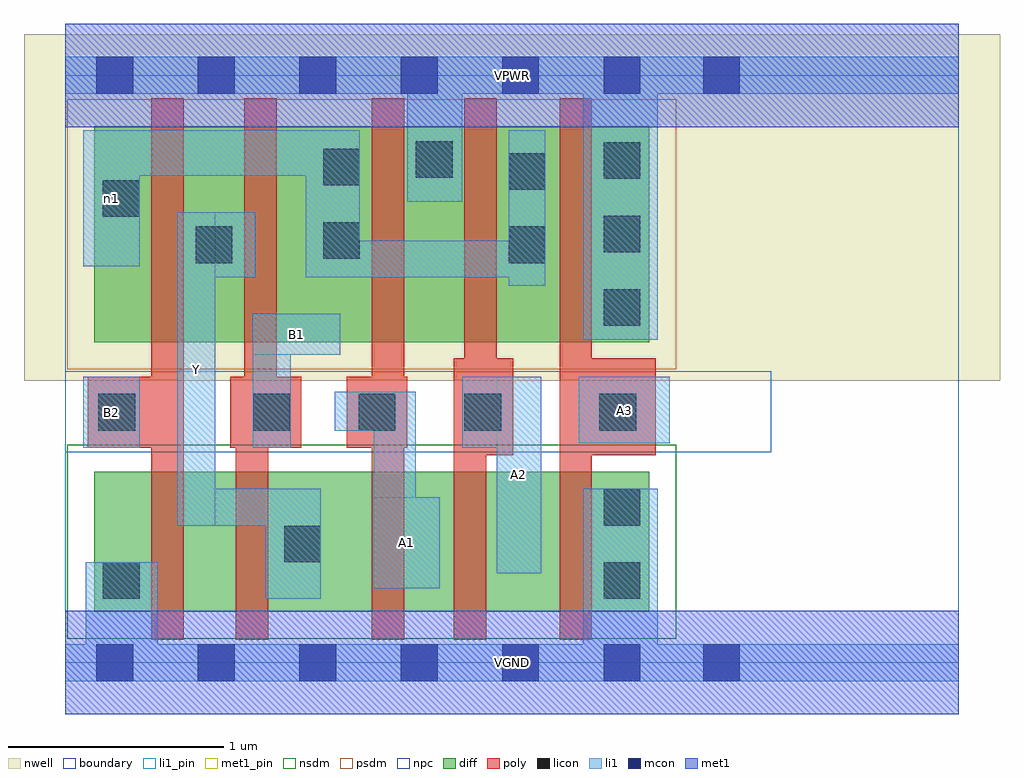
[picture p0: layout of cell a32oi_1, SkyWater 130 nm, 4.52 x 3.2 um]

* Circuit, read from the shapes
.subckt a32oi_1 A1 A2 A3 B1 B2 VGND VPWR Y n1
XM1 n2 B2 VGND VSUBS sky130_fd_pr__nfet_01v8 w=0.65 l=0.15
XM2 Y B1 n2 VSUBS sky130_fd_pr__nfet_01v8 w=0.65 l=0.15
XM3 n3 A1 Y VSUBS sky130_fd_pr__nfet_01v8 w=0.65 l=0.15
XM4 n4 A2 n3 VSUBS sky130_fd_pr__nfet_01v8 w=0.65 l=0.15
XM5 VGND A3 n4 VSUBS sky130_fd_pr__nfet_01v8 w=0.65 l=0.15
XM6 Y B2 n1 n5 sky130_fd_pr__pfet_01v8 w=1 l=0.15
XM7 n1 B1 Y n5 sky130_fd_pr__pfet_01v8 w=1 l=0.15
XM8 VPWR A1 n1 n5 sky130_fd_pr__pfet_01v8 w=1 l=0.15
XM9 n1 A2 VPWR n5 sky130_fd_pr__pfet_01v8 w=1 l=0.15
XM10 VPWR A3 n1 n5 sky130_fd_pr__pfet_01v8 w=1 l=0.15
.ends

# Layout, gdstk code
import gdstk
lib = gdstk.Library(unit=1e-6, precision=1e-09)
def R(c, l, rs):  # rectangles x0, y0, x1, y1
    for r in rs: c.add(gdstk.rectangle(r[:2], r[2:], *l))
def A(c, l, x, y, w, h, nx, ny, dx, dy):  # array of equal rectangles
    R(c, l, [(x+i*dx, y+j*dy, x+i*dx+w, y+j*dy+h) for i in range(nx) for j in range(ny)])
nwell = (64, 20)
diff = (65, 20)
poly = (66, 20)
licon = (66, 44)
li1_pin = (67, 16)
li1 = (67, 20)
mcon = (67, 44)
met1_pin = (68, 16)
met1 = (68, 20)
nsdm = (93, 44)
psdm = (94, 20)
npc = (95, 20)
boundary = (235, 4)

a32oi_1 = lib.new_cell('a32oi_1')
R(a32oi_1, nwell, [(-0.19,1.305,4.33,2.91), (0,1.305,4.14,2.91)])
R(a32oi_1, diff, [(0.135,0.235,2.705,0.885), (0.135,1.485,2.705,2.485)])
R(a32oi_1, poly, [(0.4,0.105,0.55,2.615), (0.79,0.105,0.94,1.325), (1.42,0.105,1.57,2.615), (1.8,0.105,1.95,1.41), (2.29,0.105,2.44,2.615), (1.8,0.96,2.075,1.41), (1.85,0.96,2,2.615), (2.29,0.96,2.735,1.41), (0.105,0.995,0.55,1.325), (0.765,0.995,1.095,1.325), (0.83,0.995,0.98,2.615), (1.305,0.995,1.585,1.325)])
A(a32oi_1, licon, 0.87, 1.075, 0.17, 0.17, 3, 1, 0.49, 0)
A(a32oi_1, licon, 2.495, 1.56, 0.17, 0.17, 1, 3, 0, 0.34)
R(a32oi_1, licon, [(0.175,0.295,0.345,0.465), (2.495,0.295,2.665,0.465), (1.015,0.465,1.185,0.635), (2.495,0.635,2.665,0.805), (0.155,1.075,0.325,1.245), (2.475,1.075,2.645,1.245), (0.605,1.85,0.775,2.02), (2.055,1.85,2.225,2.02), (1.195,1.87,1.365,2.04), (0.175,2.065,0.345,2.235), (2.055,2.19,2.225,2.36), (1.195,2.21,1.365,2.38), (1.625,2.245,1.795,2.415)])
R(a32oi_1, li1_pin, [(1.43,0.345,1.735,0.765), (2,0.415,2.205,1.325), (0.52,0.635,0.695,2.085), (0.085,0.995,0.345,1.325), (2.38,1.015,2.8,1.325), (0.87,1.425,1.275,1.615)])
R(a32oi_1, li1, [(0,-0.085,4.14,0.085), (0.095,-0.085,0.43,0.465), (2.4,-0.085,2.745,0.805), (0.93,0.295,1.185,0.805), (1.43,0.345,1.625,1.255), (1.43,0.345,1.735,0.765), (2,0.415,2.205,1.325), (0.52,0.635,0.695,2.085), (0.52,0.635,1.185,0.805), (0.085,0.995,0.345,1.325), (0.87,0.995,1.045,1.615), (1.84,0.995,2.205,1.325), (2.38,1.015,2.8,1.325), (1.25,1.075,1.625,1.255), (0.87,1.425,1.275,1.615), (2.4,1.495,2.745,2.805), (2.055,1.745,2.225,2.465), (0.52,1.785,0.88,2.085), (1.115,1.785,2.225,1.955), (1.115,1.785,1.365,2.465), (0.085,1.835,0.345,2.465), (1.585,2.135,1.84,2.805), (0.085,2.255,1.365,2.465), (0,2.635,4.14,2.805)])
A(a32oi_1, mcon, 0.145, -0.085, 0.17, 0.17, 6, 2, 0.47, 2.72)
R(a32oi_1, mcon, [(2.955,-0.085,3.125,0.085), (2.955,2.635,3.125,2.805)])
R(a32oi_1, met1_pin, [(0,-0.24,4.14,0.24), (0,2.48,4.14,2.96)])
R(a32oi_1, met1, [(0,-0.24,4.14,0.24), (0,2.48,4.14,2.96)])
R(a32oi_1, nsdm, [(0.01,0.11,2.83,1.01)])
R(a32oi_1, psdm, [(0.01,1.36,2.83,2.61)])
R(a32oi_1, npc, [(0,0.975,3.27,1.35)])
R(a32oi_1, boundary, [(0,0,4.14,2.72)])
a32oi_1.add(gdstk.Label('A1', (1.582,0.555), layer=67, texttype=5))
a32oi_1.add(gdstk.Label('A2', (2.102,0.87), layer=67, texttype=5))
a32oi_1.add(gdstk.Label('A3', (2.59,1.17), layer=67, texttype=5))
a32oi_1.add(gdstk.Label('B1', (1.072,1.52), layer=67, texttype=5))
a32oi_1.add(gdstk.Label('B2', (0.215,1.16), layer=67, texttype=5))
a32oi_1.add(gdstk.Label('Y', (0.607,1.36), layer=67, texttype=5))
a32oi_1.add(gdstk.Label('n1', (0.215,2.15), layer=67, texttype=5))
a32oi_1.add(gdstk.Label('VPWR', (2.07,2.72), layer=68, texttype=5))
a32oi_1.add(gdstk.Label('VGND', (2.07,0), layer=68, texttype=5))
a32oi_1.add(gdstk.Label('A1', (1.582,0.555), layer=67, texttype=16))
a32oi_1.add(gdstk.Label('A2', (2.102,0.87), layer=67, texttype=16))
a32oi_1.add(gdstk.Label('A3', (2.59,1.17), layer=67, texttype=16))
a32oi_1.add(gdstk.Label('B1', (1.072,1.52), layer=67, texttype=16))
a32oi_1.add(gdstk.Label('B2', (0.215,1.16), layer=67, texttype=16))
a32oi_1.add(gdstk.Label('Y', (0.607,1.36), layer=67, texttype=16))
a32oi_1.add(gdstk.Label('VPWR', (2.07,2.72), layer=68, texttype=16))
a32oi_1.add(gdstk.Label('VGND', (2.07,0), layer=68, texttype=16))

lib.write_gds('a32oi_1.gds')
